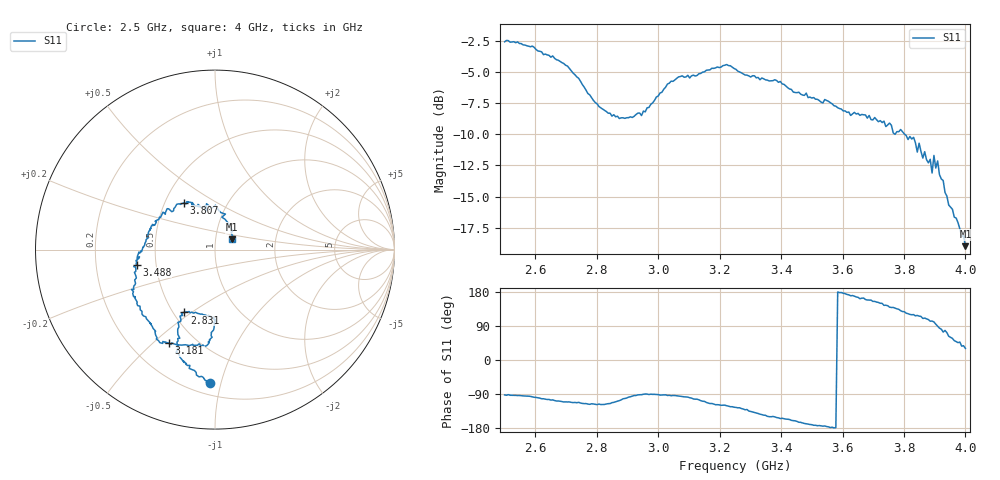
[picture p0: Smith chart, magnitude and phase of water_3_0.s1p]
# MHz S MA R 50
!  freq  S11
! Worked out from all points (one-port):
!   250 points, 2.5 GHz to 4 GHz, reference 50 ohm
!   lowest |S11| = -19.0 dB at 4 GHz (marker M1), VSWR 1.25, Z = 60.3 + j6.99 ohm
!   |S11| at or under -10 dB: 3.770927 GHz to 3.771166 GHz (239.6 kHz wide, 0.00635 % of centre); 3.803 GHz to end of sweep
!   S11 on the Smith chart (normalised r, x): 2.5 GHz: 0.28, -0.92; 2.831 GHz: 0.57, -0.47; 3.181 GHz: 0.36, -0.56; 3.488 GHz: 0.39, -0.08; 3.807 GHz: 0.62, +0.36; 4 GHz: 1.21, +0.14
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2500  0.7437 -92.2
2590.361  0.7145 -97.2
2692.771  0.6079 -110.7
2771.084  0.4608 -116.2
2831.325  0.3901 -116.1
2879.518  0.3683 -105.2
2957.831  0.389 -89.6
3066.265  0.5374 -95.0
3180.723  0.5815 -116.2
3253.012  0.5766 -125.1
3355.422  0.5216 -148.7
3439.759  0.4672 -160.0
3487.952  0.4439 -169.1
3626.506  0.3764 169.4
3704.819  0.3693 154.7
3807.229  0.3127 123.6
3813.253  0.3012 122.2
3831.325  0.3074 119.8
3843.373  0.2682 117.6
3849.398  0.2912 115.8
3861.446  0.2537 109.6
3885.542  0.2509 102.3
3891.566  0.2209 102.7
3897.59  0.26 100.5
3903.614  0.2315 94.4
3909.639  0.2472 89.4
3945.783  0.1643 62.5
4000  0.1124 30.6
